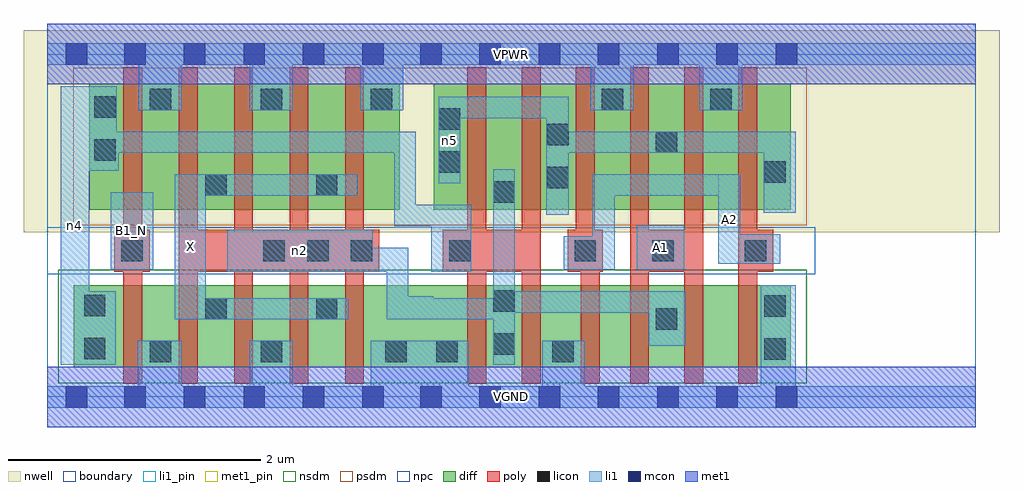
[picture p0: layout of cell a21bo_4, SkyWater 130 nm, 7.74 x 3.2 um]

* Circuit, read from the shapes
.subckt a21bo_4 A1 A2 B1_N VGND VPWR X n2 n4 n5
XM1 VGND B1_N n4 VSUBS sky130_fd_pr__nfet_01v8 w=0.65 l=0.15
XM2 X n2 VGND VSUBS sky130_fd_pr__nfet_01v8 w=0.65 l=0.15 m=4
XM3 n2 n4 VGND VSUBS sky130_fd_pr__nfet_01v8 w=0.65 l=0.15 m=2
XM4 n1 A2 VGND VSUBS sky130_fd_pr__nfet_01v8 w=0.65 l=0.15
XM5 n2 A1 n1 VSUBS sky130_fd_pr__nfet_01v8 w=0.65 l=0.15
XM6 n3 A1 n2 VSUBS sky130_fd_pr__nfet_01v8 w=0.65 l=0.15
XM7 VGND A2 n3 VSUBS sky130_fd_pr__nfet_01v8 w=0.65 l=0.15
XM8 VPWR B1_N n4 n6 sky130_fd_pr__pfet_01v8 w=1 l=0.15
XM9 X n2 VPWR n6 sky130_fd_pr__pfet_01v8 w=1 l=0.15 m=4
XM10 n2 n4 n5 n6 sky130_fd_pr__pfet_01v8 w=1 l=0.15 m=2
XM11 VPWR A2 n5 n6 sky130_fd_pr__pfet_01v8 w=1 l=0.15 m=2
XM12 n5 A1 VPWR n6 sky130_fd_pr__pfet_01v8 w=1 l=0.15 m=2
.ends

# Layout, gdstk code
import gdstk
lib = gdstk.Library(unit=1e-6, precision=1e-09)
def R(c, l, rs):  # rectangles x0, y0, x1, y1
    for r in rs: c.add(gdstk.rectangle(r[:2], r[2:], *l))
def A(c, l, x, y, w, h, nx, ny, dx, dy):  # array of equal rectangles
    R(c, l, [(x+i*dx, y+j*dy, x+i*dx+w, y+j*dy+h) for i in range(nx) for j in range(ny)])
nwell = (64, 20)
diff = (65, 20)
poly = (66, 20)
licon = (66, 44)
li1_pin = (67, 16)
li1 = (67, 20)
mcon = (67, 44)
met1_pin = (68, 16)
met1 = (68, 20)
nsdm = (93, 44)
psdm = (94, 20)
npc = (95, 20)
boundary = (235, 4)

a21bo_4 = lib.new_cell('a21bo_4')
R(a21bo_4, nwell, [(-0.19,1.305,7.55,2.91), (0,1.305,7.36,2.91)])
R(a21bo_4, diff, [(0.21,0.235,5.895,0.885), (0.33,1.485,2.795,2.485), (3.065,1.485,5.895,2.485)])
A(a21bo_4, poly, 0.6, 0.105, 0.15, 2.51, 5, 1, 0.44, 0)
A(a21bo_4, poly, 4.62, 0.105, 0.15, 2.51, 3, 1, 0.43, 0)
R(a21bo_4, poly, [(3.33,0.105,3.48,2.615), (3.76,0.105,3.91,2.615), (4.23,0.105,4.38,1.325), (0.53,0.995,0.81,1.325), (1.04,0.995,2.63,1.325), (3.135,0.995,3.91,1.325), (4.125,0.995,4.405,1.325), (4.19,0.995,4.34,2.615), (4.62,0.995,5.2,1.325), (5.48,0.995,5.755,1.325)])
R(a21bo_4, licon, [(0.81,0.275,0.98,0.445), (1.69,0.275,1.86,0.445), (2.68,0.275,2.85,0.445), (3.085,0.275,3.255,0.445), (4.005,0.275,4.175,0.445), (5.685,0.295,5.855,0.465), (0.29,0.3,0.46,0.47), (3.535,0.335,3.705,0.505), (4.825,0.535,4.995,0.705), (1.25,0.615,1.42,0.785), (2.13,0.615,2.3,0.785), (5.685,0.635,5.855,0.805), (0.29,0.64,0.46,0.81), (3.535,0.675,3.705,0.845), (0.585,1.075,0.755,1.245), (1.71,1.075,1.88,1.245), (2.06,1.075,2.23,1.245), (2.405,1.075,2.575,1.245), (3.185,1.075,3.355,1.245), (4.18,1.075,4.35,1.245), (4.795,1.075,4.965,1.245), (5.53,1.075,5.7,1.245), (3.535,1.54,3.705,1.71), (1.25,1.595,1.42,1.765), (2.13,1.595,2.3,1.765), (3.965,1.655,4.135,1.825), (5.685,1.7,5.855,1.87), (3.105,1.78,3.275,1.95), (0.37,1.875,0.54,2.045), (4.825,1.935,4.995,2.105), (3.965,1.995,4.135,2.165), (3.105,2.12,3.275,2.29), (0.37,2.215,0.54,2.385), (0.81,2.275,0.98,2.445), (1.69,2.275,1.86,2.445), (2.565,2.275,2.735,2.445), (4.395,2.275,4.565,2.445), (5.255,2.275,5.425,2.445)])
R(a21bo_4, li1_pin, [(1.01,0.615,1.255,1.765), (0.5,1.01,0.84,1.625), (4.675,1.01,5.05,1.36), (5.32,1.055,5.495,1.765)])
R(a21bo_4, li1, [(0,-0.085,7.36,0.085), (0.715,-0.085,1.065,0.445), (1.605,-0.085,1.945,0.445), (2.565,-0.085,3.34,0.445), (3.925,-0.085,4.26,0.445), (5.655,-0.085,5.935,0.885), (0.105,0.255,0.33,2.465), (0.105,0.255,0.54,0.84), (3.535,0.255,3.705,1.805), (4.77,0.405,5.06,0.84), (1.01,0.615,1.255,1.765), (1.01,0.615,2.385,0.785), (2.69,0.615,3.705,0.785), (2.69,0.615,2.86,1.185), (2.69,0.615,3.06,0.8), (3.535,0.67,5.06,0.84), (1.425,0.995,2.58,1.325), (1.425,0.995,2.86,1.185), (3.045,0.995,3.36,1.525), (0.5,1.01,0.84,1.625), (4.095,1.01,4.5,1.275), (4.32,1.01,4.5,1.765), (4.675,1.01,5.05,1.36), (5.32,1.055,5.81,1.29), (5.32,1.055,5.495,1.765), (2.75,1.355,2.92,2.105), (2.75,1.355,3.36,1.525), (3.955,1.445,4.135,2.38), (5.68,1.46,5.935,2.105), (1.01,1.595,2.455,1.765), (4.32,1.595,5.495,1.765), (3.105,1.695,3.275,2.38), (0.105,1.795,0.55,2.465), (0.105,1.795,0.565,2.105), (0.105,1.935,2.92,2.105), (3.955,1.935,5.935,2.105), (3.105,2.21,4.135,2.38), (0.725,2.275,1.065,2.805), (1.605,2.275,1.945,2.805), (2.48,2.275,2.82,2.805), (4.31,2.275,4.65,2.805), (5.17,2.275,5.51,2.805), (0,2.635,7.36,2.805)])
A(a21bo_4, mcon, 1.555, -0.085, 0.17, 0.17, 3, 2, 0.47, 2.72)
A(a21bo_4, mcon, 2.955, -0.085, 0.17, 0.17, 7, 2, 0.47, 2.72)
R(a21bo_4, mcon, [(0.145,-0.085,0.315,0.085), (0.61,-0.085,0.78,0.085), (1.08,-0.085,1.25,0.085), (0.145,2.635,0.315,2.805), (0.61,2.635,0.78,2.805), (1.08,2.635,1.25,2.805)])
R(a21bo_4, met1_pin, [(0,-0.24,7.36,0.24), (0,2.48,7.36,2.96)])
R(a21bo_4, met1, [(0,-0.24,7.36,0.24), (0,2.48,7.36,2.96)])
R(a21bo_4, nsdm, [(0.085,0.11,6.02,1.01)])
R(a21bo_4, psdm, [(0.205,1.36,6.02,2.61)])
R(a21bo_4, npc, [(0,0.975,6.09,1.345)])
R(a21bo_4, boundary, [(0,0,7.36,2.72)])
a21bo_4.add(gdstk.Label('A1', (4.862,1.185), layer=67, texttype=5))
a21bo_4.add(gdstk.Label('A2', (5.407,1.41), layer=67, texttype=5))
a21bo_4.add(gdstk.Label('B1_N', (0.67,1.317), layer=67, texttype=5))
a21bo_4.add(gdstk.Label('X', (1.132,1.19), layer=67, texttype=5))
a21bo_4.add(gdstk.Label('n2', (2.002,1.16), layer=67, texttype=5))
a21bo_4.add(gdstk.Label('n5', (3.19,2.037), layer=67, texttype=5))
a21bo_4.add(gdstk.Label('n4', (0.217,1.36), layer=67, texttype=5))
a21bo_4.add(gdstk.Label('VPWR', (3.68,2.72), layer=68, texttype=5))
a21bo_4.add(gdstk.Label('VGND', (3.68,0), layer=68, texttype=5))
a21bo_4.add(gdstk.Label('A1', (4.862,1.185), layer=67, texttype=16))
a21bo_4.add(gdstk.Label('A2', (5.407,1.41), layer=67, texttype=16))
a21bo_4.add(gdstk.Label('B1_N', (0.67,1.317), layer=67, texttype=16))
a21bo_4.add(gdstk.Label('X', (1.132,1.19), layer=67, texttype=16))
a21bo_4.add(gdstk.Label('VPWR', (3.68,2.72), layer=68, texttype=16))
a21bo_4.add(gdstk.Label('VGND', (3.68,0), layer=68, texttype=16))

lib.write_gds('a21bo_4.gds')
